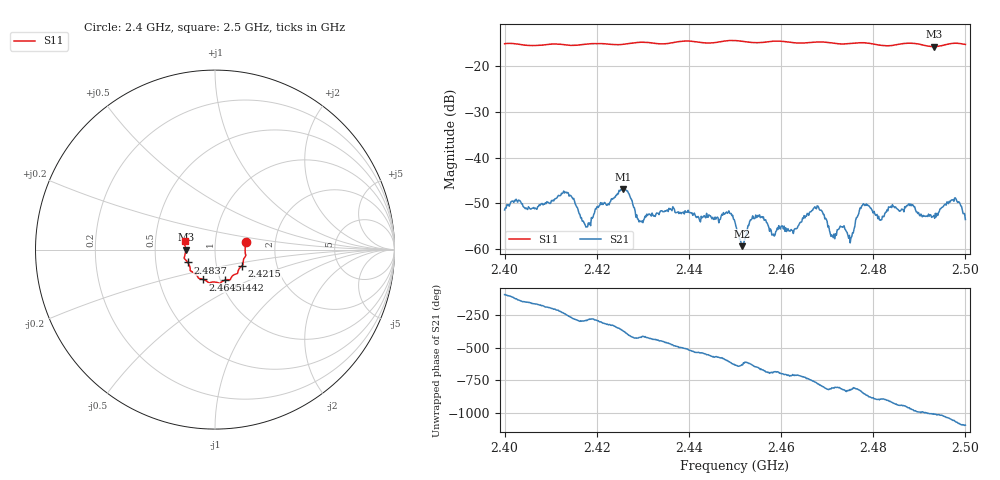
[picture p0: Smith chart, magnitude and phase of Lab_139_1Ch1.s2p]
# Hz S RI R 50
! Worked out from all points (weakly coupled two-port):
!   601 points, 2.4 GHz to 2.5 GHz, reference 50 ohm
!   highest |S21| = -46.82 dB at 2.4257 GHz (marker M1); lowest = -59.3 dB at 2.4515 GHz (marker M2)
!   lowest |S11| = -15.7 dB at 2.4932 GHz (marker M3), VSWR 1.39, Z = 36 - j0.0505 ohm
!   |S11| at or under -10 dB: start of sweep to end of sweep
!   S12 and S22 are empty: the file has one direction only
!   S11 on the Smith chart (normalised r, x): 2.4 GHz: 1.41, +0.12; 2.4215 GHz: 1.33, -0.25; 2.4442 GHz: 1.05, -0.37; 2.4645 GHz: 0.83, -0.29; 2.4837 GHz: 0.73, -0.11; 2.5 GHz: 0.71, +0.07
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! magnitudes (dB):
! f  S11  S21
! 2.4 GHz  -15.1  -51.4
! 2.4133 GHz  -15.4  -47.5
! 2.4167 GHz  -15.3  -53.1
! 2.4182 GHz  -15.2  -54.2
! 2.4215 GHz  -15.1  -50.0
! 2.4257 GHz  -15.3  -46.8
! 2.4295 GHz  -14.8  -53.9
! 2.4333 GHz  -15.1  -52.2
! 2.4442 GHz  -15.0  -53.0
! 2.45 GHz  -14.4  -54.1
! 2.4515 GHz  -14.6  -59.3
! 2.4542 GHz  -14.9  -53.3
! 2.4585 GHz  -14.5  -57.1
! 2.4645 GHz  -15.0  -54.0
! 2.4667 GHz  -14.8  -51.6
! 2.475 GHz  -15.1  -58.6
! 2.4777 GHz  -14.9  -50.4
! 2.4833 GHz  -15.5  -50.7
! 2.4837 GHz  -15.5  -50.8
! 2.4932 GHz  -15.7  -52.6
! 2.4975 GHz  -15.0  -49.5
! 2.5 GHz  -15.2  -53.5
